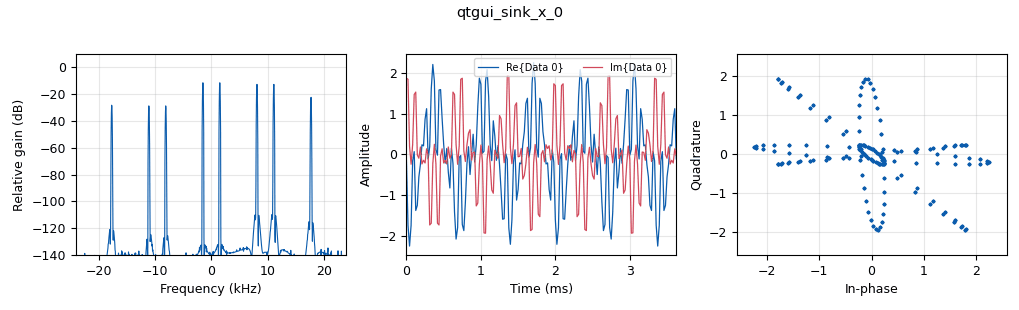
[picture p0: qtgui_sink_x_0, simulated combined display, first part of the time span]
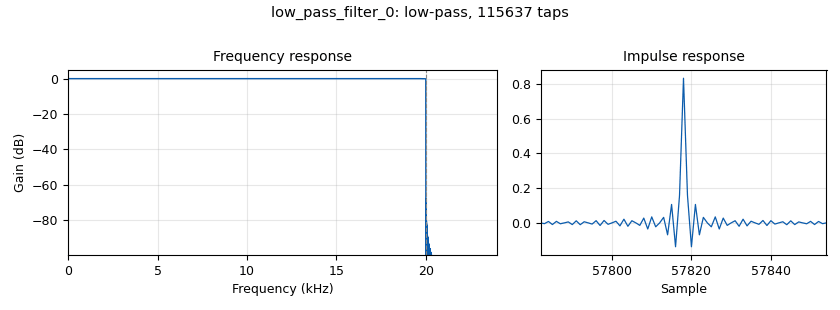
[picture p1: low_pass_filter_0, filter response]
<?xml version='1.0' encoding='utf-8'?>
<?grc format='1' created='3.7.13'?>
<flow_graph>
<block>
<key>options</key>
<param><key>id</key><value>top_block</value></param>
<param><key>generate_options</key><value>qt_gui</value></param>
</block>
<block>
<key>variable</key>
<param><key>id</key><value>samp_rate</value></param>
<param><key>value</key><value>48e3</value></param>
</block>
<block>
<key>analog_sig_source_x</key>
<param><key>id</key><value>analog_sig_source_x_0</value></param>
<param><key>amp</key><value>1</value></param>
<param><key>freq</key><value>1500</value></param>
<param><key>offset</key><value>0</value></param>
<param><key>type</key><value>complex</value></param>
<param><key>samp_rate</key><value>samp_rate</value></param>
<param><key>waveform</key><value>analog.GR_COS_WAVE</value></param>
</block>
<block>
<key>analog_sig_source_x</key>
<param><key>id</key><value>analog_sig_source_x_0_0</value></param>
<param><key>amp</key><value>1</value></param>
<param><key>freq</key><value>-1500</value></param>
<param><key>offset</key><value>0</value></param>
<param><key>type</key><value>complex</value></param>
<param><key>samp_rate</key><value>samp_rate</value></param>
<param><key>waveform</key><value>analog.GR_COS_WAVE</value></param>
</block>
<block>
<key>analog_sig_source_x</key>
<param><key>id</key><value>analog_sig_source_x_0_0_0</value></param>
<param><key>amp</key><value>1</value></param>
<param><key>_enabled</key><value>0</value></param>
<param><key>freq</key><value>4e6</value></param>
<param><key>offset</key><value>0</value></param>
<param><key>type</key><value>complex</value></param>
<param><key>samp_rate</key><value>samp_rate</value></param>
<param><key>waveform</key><value>analog.GR_COS_WAVE</value></param>
</block>
<block>
<key>analog_sig_source_x</key>
<param><key>id</key><value>analog_sig_source_x_1</value></param>
<param><key>amp</key><value>1</value></param>
<param><key>freq</key><value>9600</value></param>
<param><key>offset</key><value>0</value></param>
<param><key>type</key><value>complex</value></param>
<param><key>samp_rate</key><value>samp_rate</value></param>
<param><key>waveform</key><value>analog.GR_SQR_WAVE</value></param>
</block>
<block>
<key>blocks_add_xx</key>
<param><key>id</key><value>blocks_add_xx_0</value></param>
<param><key>type</key><value>complex</value></param>
</block>
<block>
<key>blocks_file_sink</key>
<param><key>id</key><value>blocks_file_sink_0</value></param>
<param><key>_enabled</key><value>0</value></param>
<param><key>file</key><value>C:\Users\buer9\Google Drive\ELSYS\Student_defined_project\Gnu_radio\file_sink\output.bin</value></param>
<param><key>type</key><value>complex</value></param>
</block>
<block>
<key>blocks_file_sink</key>
<param><key>id</key><value>blocks_file_sink_0_0</value></param>
<param><key>_enabled</key><value>0</value></param>
<param><key>file</key><value>C:\Users\buer9\Google Drive\ELSYS\Student_defined_project\Gnu_radio\file_sink\complex_binary_feed.bin</value></param>
<param><key>type</key><value>complex</value></param>
</block>
<block>
<key>blocks_multiply_const_vxx</key>
<param><key>id</key><value>blocks_multiply_const_vxx_0</value></param>
<param><key>const</key><value>-1</value></param>
<param><key>type</key><value>complex</value></param>
</block>
<block>
<key>blocks_multiply_xx</key>
<param><key>id</key><value>blocks_multiply_xx_0</value></param>
<param><key>type</key><value>complex</value></param>
</block>
<block>
<key>blocks_multiply_xx</key>
<param><key>id</key><value>blocks_multiply_xx_0_0</value></param>
<param><key>type</key><value>complex</value></param>
</block>
<block>
<key>blocks_multiply_xx</key>
<param><key>id</key><value>blocks_multiply_xx_0_1</value></param>
<param><key>_enabled</key><value>0</value></param>
<param><key>type</key><value>complex</value></param>
</block>
<block>
<key>blocks_throttle</key>
<param><key>id</key><value>blocks_throttle_0</value></param>
<param><key>samples_per_second</key><value>samp_rate</value></param>
<param><key>type</key><value>complex</value></param>
</block>
<block>
<key>low_pass_filter</key>
<param><key>id</key><value>low_pass_filter_0</value></param>
<param><key>cutoff_freq</key><value>20e3</value></param>
<param><key>decim</key><value>1</value></param>
<param><key>type</key><value>fir_filter_ccf</value></param>
<param><key>gain</key><value>1</value></param>
<param><key>samp_rate</key><value>samp_rate</value></param>
<param><key>width</key><value>1</value></param>
<param><key>win</key><value>firdes.WIN_HAMMING</value></param>
</block>
<block>
<key>qtgui_sink_x</key>
<param><key>id</key><value>qtgui_sink_x_0</value></param>
<param><key>bw</key><value>samp_rate</value></param>
<param><key>fc</key><value>0</value></param>
<param><key>freqchangevar</key><value>None</value></param>
<param><key>fftsize</key><value>1024</value></param>
<param><key>showports</key><value>True</value></param>
<param><key>type</key><value>complex</value></param>
<param><key>wintype</key><value>firdes.WIN_BLACKMAN_hARRIS</value></param>
</block>
<connection><source_block_id>analog_sig_source_x_0</source_block_id><sink_block_id>blocks_multiply_xx_0</sink_block_id><source_key>0</source_key><sink_key>0</sink_key></connection>
<connection><source_block_id>analog_sig_source_x_0_0</source_block_id><sink_block_id>blocks_multiply_xx_0_0</sink_block_id><source_key>0</source_key><sink_key>1</sink_key></connection>
<connection><source_block_id>analog_sig_source_x_0_0_0</source_block_id><sink_block_id>blocks_multiply_xx_0_1</sink_block_id><source_key>0</source_key><sink_key>0</sink_key></connection>
<connection><source_block_id>analog_sig_source_x_1</source_block_id><sink_block_id>blocks_file_sink_0_0</sink_block_id><source_key>0</source_key><sink_key>0</sink_key></connection>
<connection><source_block_id>analog_sig_source_x_1</source_block_id><sink_block_id>blocks_multiply_const_vxx_0</sink_block_id><source_key>0</source_key><sink_key>0</sink_key></connection>
<connection><source_block_id>analog_sig_source_x_1</source_block_id><sink_block_id>blocks_multiply_xx_0</sink_block_id><source_key>0</source_key><sink_key>1</sink_key></connection>
<connection><source_block_id>blocks_add_xx_0</source_block_id><sink_block_id>low_pass_filter_0</sink_block_id><source_key>0</source_key><sink_key>0</sink_key></connection>
<connection><source_block_id>blocks_multiply_const_vxx_0</source_block_id><sink_block_id>blocks_multiply_xx_0_0</sink_block_id><source_key>0</source_key><sink_key>0</sink_key></connection>
<connection><source_block_id>blocks_multiply_xx_0</source_block_id><sink_block_id>blocks_add_xx_0</sink_block_id><source_key>0</source_key><sink_key>0</sink_key></connection>
<connection><source_block_id>blocks_multiply_xx_0_0</source_block_id><sink_block_id>blocks_add_xx_0</sink_block_id><source_key>0</source_key><sink_key>1</sink_key></connection>
<connection><source_block_id>blocks_throttle_0</source_block_id><sink_block_id>blocks_file_sink_0</sink_block_id><source_key>0</source_key><sink_key>0</sink_key></connection>
<connection><source_block_id>blocks_throttle_0</source_block_id><sink_block_id>qtgui_sink_x_0</sink_block_id><source_key>0</source_key><sink_key>0</sink_key></connection>
<connection><source_block_id>low_pass_filter_0</source_block_id><sink_block_id>blocks_throttle_0</sink_block_id><source_key>0</source_key><sink_key>0</sink_key></connection>
</flow_graph>
